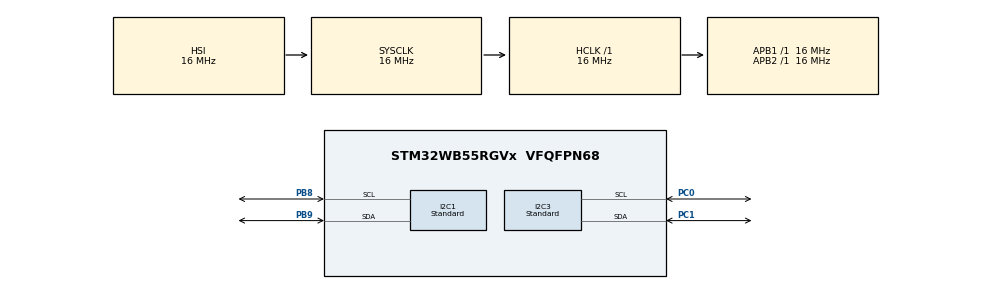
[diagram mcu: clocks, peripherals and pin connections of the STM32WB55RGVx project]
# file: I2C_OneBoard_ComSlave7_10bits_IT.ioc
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I2C1.AddressingMode=I2C_ADDRESSINGMODE_10BIT
I2C1.Analog_Filter=I2C_ANALOGFILTER_ENABLE
I2C1.CustomTiming=Enabled
I2C1.DualAddressMode=I2C_DUALADDRESS_ENABLE
I2C1.GeneralCallMode=I2C_GENERALCALL_DISABLE
I2C1.I2C_Speed_Mode=I2C_Standard
I2C1.NoStretchMode=I2C_NOSTRETCH_DISABLE
I2C1.OwnAddress=I2C_SLAVE_ADDRESS1
I2C1.OwnAddress2=I2C_SLAVE_ADDRESS2
I2C1.OwnAddress2Masks=I2C_OA2_NOMASK
I2C1.Speed=100
I2C1.Timing=I2C_TIMING
I2C3.AddressingMode=I2C_ADDRESSINGMODE_10BIT
I2C3.Analog_Filter=I2C_ANALOGFILTER_ENABLE
I2C3.CustomTiming=Enabled
I2C3.DualAddressMode=I2C_DUALADDRESS_DISABLE
I2C3.GeneralCallMode=I2C_GENERALCALL_DISABLE
I2C3.I2C_Speed_Mode=I2C_Standard
I2C3.NoStretchMode=I2C_NOSTRETCH_DISABLE
I2C3.OwnAddress=0
I2C3.Speed=100
I2C3.Timing=I2C_TIMING
Mcu.Family=STM32WB
Mcu.Name=STM32WB55RGVx
Mcu.Package=VFQFPN68
Mcu.UserConstants=I2C_SLAVE_ADDRESS1,0x13E;I2C_SLAVE_ADDRESS2,0x64;I2C_TIMING,0x00A00F1B
NVIC.PriorityGroup=NVIC_PRIORITYGROUP_4
PB8.Mode=I2C
PB8.Signal=I2C1_SCL
PB9.Mode=I2C
PB9.Signal=I2C1_SDA
PC0.Mode=I2C
PC0.Signal=I2C3_SCL
PC1.Mode=I2C
PC1.Signal=I2C3_SDA
ProjectManager.HeapSize=0x200
ProjectManager.StackSize=0x400
ProjectManager.TargetToolchain=EWARM V8
RCC.ADCFreq_Value=16000000
RCC.AHB2CLKDivider=RCC_SYSCLK_DIV2
RCC.AHBFreq_Value=16000000
RCC.APB1Freq_Value=16000000
RCC.APB1TimFreq_Value=16000000
RCC.APB2Freq_Value=16000000
RCC.APB2TimFreq_Value=16000000
RCC.APB3Freq_Value=16000000
RCC.CodegenConfigPeriph=false
RCC.CortexFreq_Value=16000000
RCC.HCLKFreq_Value=16000000
RCC.HSE_VALUE=8000000
RCC.HSI48_VALUE=48000000
RCC.HSI_VALUE=16000000
RCC.LSE_VALUE=32768
RCC.PLLN=32
RCC.SYSCLKFreq_VALUE=16000000
RCC.SYSCLKSource=RCC_SYSCLKSOURCE_HSI
RCC.USBFreq_Value=16000000
RCC.VCOOutputFreq_Value=128000000
board=custom

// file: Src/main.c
/* USER CODE BEGIN Header */
/**
  ******************************************************************************
  * @file    Examples_MIX/I2C/I2C_OneBoard_ComSlave7_10bits_IT/Src/main.c
  * @author  MCD Application Team
  * @brief   This sample code shows how to use STM32WBxx I2C HAL and LL API
  *          to transmit and receive a data buffer with a communication process
  *          based on IT transfer.
  *          The communication is done using 1 Board.
  ******************************************************************************
  * @attention
  *
  * <h2><center>&copy; COPYRIGHT(c) 2019 STMicroelectronics</center></h2>
  *
  * Redistribution and use in source and binary forms, with or without modification,
  * are permitted provided that the following conditions are met:
  *   1. Redistributions of source code must retain the above copyright notice,
  *      this list of conditions and the following disclaimer.
  *   2. Redistributions in binary form must reproduce the above copyright notice,
  *      this list of conditions and the following disclaimer in the documentation
  *      and/or other materials provided with the distribution.
  *   3. Neither the name of STMicroelectronics nor the names of its contributors
  *      may be used to endorse or promote products derived from this software
  *      without specific prior written permission.
  *
  * THIS SOFTWARE IS PROVIDED BY THE COPYRIGHT HOLDERS AND CONTRIBUTORS "AS IS"
  * AND ANY EXPRESS OR IMPLIED WARRANTIES, INCLUDING, BUT NOT LIMITED TO, THE
  * IMPLIED WARRANTIES OF MERCHANTABILITY AND FITNESS FOR A PARTICULAR PURPOSE ARE
  * DISCLAIMED. IN NO EVENT SHALL THE COPYRIGHT HOLDER OR CONTRIBUTORS BE LIABLE
  * FOR ANY DIRECT, INDIRECT, INCIDENTAL, SPECIAL, EXEMPLARY, OR CONSEQUENTIAL
  * DAMAGES (INCLUDING, BUT NOT LIMITED TO, PROCUREMENT OF SUBSTITUTE GOODS OR
  * SERVICES; LOSS OF USE, DATA, OR PROFITS; OR BUSINESS INTERRUPTION) HOWEVER
  * CAUSED AND ON ANY THEORY OF LIABILITY, WHETHER IN CONTRACT, STRICT LIABILITY,
  * OR TORT (INCLUDING NEGLIGENCE OR OTHERWISE) ARISING IN ANY WAY OUT OF THE USE
  * OF THIS SOFTWARE, EVEN IF ADVISED OF THE POSSIBILITY OF SUCH DAMAGE.
  *
  ******************************************************************************
  */
/* USER CODE END Header */
#include "main.h"

I2C_HandleTypeDef hi2c1;
I2C_HandleTypeDef hi2c3;

/* USER CODE BEGIN PV */
/* Buffer used for transmission */
uint8_t aTxBuffer[] = " ****I2C_OneBoard communication based on IT****  ****I2C_OneBoard communication based on IT****  ****I2C_OneBoard communication based on IT**** ";

/* Buffer used for reception */
uint8_t aRxBuffer[RXBUFFERSIZE];
/* USER CODE END PV */

void SystemClock_Config(void);
static void MX_GPIO_Init(void);
static void MX_I2C1_Init(void);
static void MX_I2C3_Init(void);
/* USER CODE BEGIN PFP */
static uint16_t Buffercmp(uint8_t *pBuffer1, uint8_t *pBuffer2, uint16_t BufferLength);
static void Flush_Buffer(uint8_t* pBuffer, uint16_t BufferLength);
/* USER CODE END PFP */

int main(void)
{

  /* MCU Configuration--------------------------------------------------------*/

  /* Reset of all peripherals, Initializes the Flash interface and the Systick. */
  HAL_Init();

  /* Configure the system clock */
  SystemClock_Config();

  /* USER CODE BEGIN SysInit */
  /* Configure LED2 and LED3 */
  BSP_LED_Init(LED2);
  BSP_LED_Init(LED3);
  /* Configure User push-button (SW1) button */
  BSP_PB_Init(BUTTON_SW1,BUTTON_MODE_GPIO);
  /* USER CODE END SysInit */

  /* Initialize all configured peripherals */
  MX_GPIO_Init();
  MX_I2C1_Init();
  MX_I2C3_Init();
  /* USER CODE BEGIN 2 */

  /* Enable the Analog I2C Filter */
  HAL_I2CEx_ConfigAnalogFilter(&hi2c1,I2C_ANALOGFILTER_ENABLE);

  /* Enable the Analog I2C Filter */
  HAL_I2CEx_ConfigAnalogFilter(&hi2c1,I2C_ANALOGFILTER_ENABLE);

  /* Configure User push-button (SW1) button */
  BSP_PB_Init(BUTTON_SW1,BUTTON_MODE_GPIO);

  /* Wait for User push-button (SW1) press before starting the Communication */
  while (BSP_PB_GetState(BUTTON_SW1) != GPIO_PIN_RESET)
  {
  }

  /* Wait for User push-button (SW1) release before starting the Communication */
  while (BSP_PB_GetState(BUTTON_SW1) != GPIO_PIN_SET)
  {
  }

  /*##-3- Slave1 and Slave2 Receive process from master ####################*/
  /* Receive data through "aRxBuffer" buffer */
  while(HAL_I2C_Slave_Receive_IT(&hi2c1, (uint8_t*)&aRxBuffer, RXBUFFERSIZE)!= HAL_OK)
  {
  }

  /*##-4- Master Transmit process for Slave1 ###############################*/
  /* Transmit data through "aTxBuffer" buffer */
  while(HAL_I2C_Master_Transmit_IT(&hi2c3, (uint16_t)I2C_SLAVE_ADDRESS1, (uint8_t*)&aTxBuffer, TXBUFFERSIZE)!= HAL_OK)
  {
    /* Error_Handler() function is called when Timeout error occurs.
       When Acknowledge failure occurs (Slave don't acknowledge its address)
       Master restarts communication */
    if (HAL_I2C_GetError(&hi2c3) != HAL_I2C_ERROR_AF)
    {
      Error_Handler();
    }
  }

  /*##-5- Wait for the end of the transfer ###################################*/
  /*  Before starting a new communication transfer, you need to check the current
      state of the peripheral; if itТs busy you need to wait for the end of current
      transfer before starting a new one.
      For simplicity reasons, this example is just waiting till the end of the
      transfer, but application may perform other tasks while transfer operation
      is ongoing. */
  while (HAL_I2C_GetState(&hi2c1) != HAL_I2C_STATE_READY)
  {
  }

  while (HAL_I2C_GetState(&hi2c3) != HAL_I2C_STATE_READY)
  {
  }

  /*##-6- Compare the sent and received buffers ##############################*/
  if(Buffercmp((uint8_t*)aTxBuffer, (uint8_t*)aRxBuffer, TXBUFFERSIZE))
  {
    /* Processing Error */
    Error_Handler();
  }

  /* Toggle LED2: Transfer in reception Slave1 process is correct */
  BSP_LED_Toggle(LED2);

  /* Flush Rx buffers */
  Flush_Buffer((uint8_t*)aRxBuffer,RXBUFFERSIZE);

  /* Wait for User push-button (SW1) press before starting the Communication with Slave2 */
  while (BSP_PB_GetState(BUTTON_SW1) != GPIO_PIN_RESET)
  {
  }

  /* Wait for User push-button (SW1) release before starting the Communication with Slave2 */
  while (BSP_PB_GetState(BUTTON_SW1) != GPIO_PIN_SET)
  {
  }

  /*##-7- Slave1 and Slave2 Transmit process for master ######################*/
  while(HAL_I2C_Slave_Transmit_IT(&hi2c1, (uint8_t*)&aTxBuffer, TXBUFFERSIZE)!= HAL_OK)
  {
  }

  /*##-8- Configure the I2C MASTER peripheral to discuss with Slave2 (7-Bit address) #*/
  /* Using LL interface, initializes directly the I2C MASTER peripheral in 7-Bit addressing mode*/
  LL_I2C_SetMasterAddressingMode(hi2c3.Instance, I2C_ADDRESSINGMODE_7BIT);

  /* Following code sequence is needed in order to keep I2C handle structure          */
  /* content in line with IP configuration                                            */
  hi2c3.Init.AddressingMode  = I2C_ADDRESSINGMODE_7BIT;

  /* Using HAL interface, following interface must be used :                          */
  /*  - HAL_I2C_DeInit() then HAL_I2C_Init() to deInitializes then Initializes        */
  /*  the I2C MASTER peripheral to perform an update of AddressingMode Init parameter */

  /*##-9- Put I2C peripheral in Reception process from Slave 2 ###############*/
  while(HAL_I2C_Master_Receive_IT(&hi2c3, (uint16_t)I2C_SLAVE_ADDRESS2, (uint8_t*)&aRxBuffer, TXBUFFERSIZE)!= HAL_OK)
  {
    /* Error_Handler() function is called when Timeout error occurs.
       When Acknowledge failure occurs (Slave don't acknowledge its address)
       Master restarts communication */
    if (HAL_I2C_GetError(&hi2c3) != HAL_I2C_ERROR_AF)
    {
      Error_Handler();
    }
  }

  /*##-10- Wait for the end of the transfer ##################################*/
  /*  Before starting a new communication transfer, you need to check the current
      state of the peripheral; if itТs busy you need to wait for the end of current
      transfer before starting a new one.
      For simplicity reasons, this example is just waiting till the end of the
      transfer, but application may perform other tasks while transfer operation
      is ongoing. */
  while (HAL_I2C_GetState(&hi2c1) != HAL_I2C_STATE_READY)
  {
  }

  while (HAL_I2C_GetState(&hi2c3) != HAL_I2C_STATE_READY)
  {
  }

  /*##-11- Compare the sent and received buffers #############################*/
  if(Buffercmp((uint8_t*)aTxBuffer, (uint8_t*)aRxBuffer, TXBUFFERSIZE))
  {
    /* Processing Error */
    Error_Handler();
  }

  /* Toggle LED2: Transfer in Slave2 transmission process is correct */
  BSP_LED_Toggle(LED2);
  /* USER CODE END 2 */

  /* Infinite loop */
  while (1)
  {

  }
}

void SystemClock_Config(void)
{
  RCC_OscInitTypeDef RCC_OscInitStruct = {0};
  RCC_ClkInitTypeDef RCC_ClkInitStruct = {0};

  /** Initializes the RCC Oscillators according to the specified parameters
  * in the RCC_OscInitTypeDef structure.
  */
  RCC_OscInitStruct.OscillatorType = RCC_OSCILLATORTYPE_HSI;
  RCC_OscInitStruct.HSIState = RCC_HSI_ON;
  RCC_OscInitStruct.HSICalibrationValue = RCC_HSICALIBRATION_DEFAULT;
  if (HAL_RCC_OscConfig(&RCC_OscInitStruct) != HAL_OK)
  {
    Error_Handler();
  }
  /** Configure the SYSCLKSource, HCLK, PCLK1 and PCLK2 clocks dividers
  */
  RCC_ClkInitStruct.ClockType = RCC_CLOCKTYPE_HCLK4|RCC_CLOCKTYPE_HCLK2
                              |RCC_CLOCKTYPE_HCLK|RCC_CLOCKTYPE_SYSCLK
                              |RCC_CLOCKTYPE_PCLK1|RCC_CLOCKTYPE_PCLK2;
  RCC_ClkInitStruct.SYSCLKSource = RCC_SYSCLKSOURCE_HSI;
  RCC_ClkInitStruct.AHBCLKDivider = RCC_SYSCLK_DIV1;
  RCC_ClkInitStruct.APB1CLKDivider = RCC_HCLK_DIV1;
  RCC_ClkInitStruct.APB2CLKDivider = RCC_HCLK_DIV1;
  RCC_ClkInitStruct.AHBCLK2Divider = RCC_SYSCLK_DIV2;
  RCC_ClkInitStruct.AHBCLK4Divider = RCC_SYSCLK_DIV1;

  if (HAL_RCC_ClockConfig(&RCC_ClkInitStruct, FLASH_LATENCY_0) != HAL_OK)
  {
    Error_Handler();
  }
  /** Initializes the peripherals clocks
  */
}

static void MX_I2C1_Init(void)
{

  hi2c1.Instance = I2C1;
  hi2c1.Init.Timing = I2C_TIMING;
  hi2c1.Init.OwnAddress1 = I2C_SLAVE_ADDRESS1;
  hi2c1.Init.AddressingMode = I2C_ADDRESSINGMODE_10BIT;
  hi2c1.Init.DualAddressMode = I2C_DUALADDRESS_ENABLE;
  hi2c1.Init.OwnAddress2 = I2C_SLAVE_ADDRESS2;
  hi2c1.Init.OwnAddress2Masks = I2C_OA2_NOMASK;
  hi2c1.Init.GeneralCallMode = I2C_GENERALCALL_DISABLE;
  hi2c1.Init.NoStretchMode = I2C_NOSTRETCH_DISABLE;
  if (HAL_I2C_Init(&hi2c1) != HAL_OK)
  {
    Error_Handler();
  }
  /** Configure Analogue filter
  */
  if (HAL_I2CEx_ConfigAnalogFilter(&hi2c1, I2C_ANALOGFILTER_ENABLE) != HAL_OK)
  {
    Error_Handler();
  }
  /** Configure Digital filter
  */
  if (HAL_I2CEx_ConfigDigitalFilter(&hi2c1, 0) != HAL_OK)
  {
    Error_Handler();
  }

}

static void MX_I2C3_Init(void)
{

  hi2c3.Instance = I2C3;
  hi2c3.Init.Timing = I2C_TIMING;
  hi2c3.Init.OwnAddress1 = 0;
  hi2c3.Init.AddressingMode = I2C_ADDRESSINGMODE_10BIT;
  hi2c3.Init.DualAddressMode = I2C_DUALADDRESS_DISABLE;
  hi2c3.Init.OwnAddress2 = 0;
  hi2c3.Init.OwnAddress2Masks = I2C_OA2_NOMASK;
  hi2c3.Init.GeneralCallMode = I2C_GENERALCALL_DISABLE;
  hi2c3.Init.NoStretchMode = I2C_NOSTRETCH_DISABLE;
  if (HAL_I2C_Init(&hi2c3) != HAL_OK)
  {
    Error_Handler();
  }
  /** Configure Analogue filter
  */
  if (HAL_I2CEx_ConfigAnalogFilter(&hi2c3, I2C_ANALOGFILTER_ENABLE) != HAL_OK)
  {
    Error_Handler();
  }
  /** Configure Digital filter
  */
  if (HAL_I2CEx_ConfigDigitalFilter(&hi2c3, 0) != HAL_OK)
  {
    Error_Handler();
  }

}

static void MX_GPIO_Init(void)
{

  /* GPIO Ports Clock Enable */
  __HAL_RCC_GPIOB_CLK_ENABLE();
  __HAL_RCC_GPIOC_CLK_ENABLE();

}

/* USER CODE BEGIN 4 */

/**
  * @brief  Compares two buffers.
  * @param  pBuffer1, pBuffer2: buffers to be compared.
  * @param  BufferLength: buffer's length
  * @retval 0  : pBuffer1 identical to pBuffer2
  *         >0 : pBuffer1 differs from pBuffer2
  */
static uint16_t Buffercmp(uint8_t* pBuffer1, uint8_t* pBuffer2, uint16_t BufferLength)
{
  while (BufferLength--)
  {
    if ((*pBuffer1) != *pBuffer2)
    {
      return BufferLength;
    }
    pBuffer1++;
    pBuffer2++;
  }

  return 0;
}

/**
  * @brief  Flushes the buffer
  * @param  pBuffer: buffers to be flushed.
  * @param  BufferLength: buffer's length
  * @retval None
  */
static void Flush_Buffer(uint8_t* pBuffer, uint16_t BufferLength)
{
  while (BufferLength--)
  {
    *pBuffer = 0;

    pBuffer++;
  }
}

/**
  * @brief  I2C error callbacks.
  * @param  I2cHandle: I2C handle
  * @note   This example shows a simple way to report transfer error, and you can
  *         add your own implementation.
  * @retval None
  */
void HAL_I2C_ErrorCallback(I2C_HandleTypeDef *I2cHandle)
{
  /* Turn Off LED2 */
  BSP_LED_Off(LED2);
  /* Turn On LED3 */
  BSP_LED_On(LED3);
}

/* USER CODE END 4 */

void Error_Handler(void)
{
  /* USER CODE BEGIN Error_Handler_Debug */
  /* User can add his own implementation to report the HAL error return state */
  /* Turn LED3 on */
  BSP_LED_On(LED3);
  while(1)
  {
  }
  /* USER CODE END Error_Handler_Debug */
}

/************************ (C) COPYRIGHT STMicroelectronics *****END OF FILE****/
